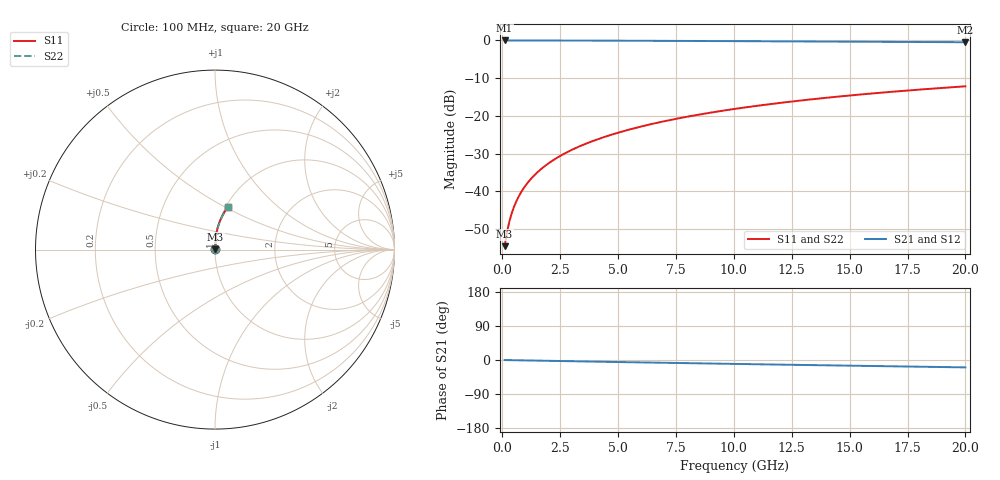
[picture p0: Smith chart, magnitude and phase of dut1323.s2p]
! Touchstone file exported from HFSS 2024.1.0
!  File:  C:/UserFiles/LocalFiles/RDL_TSV_Batchsim/temp_RDL_bottom_1323_1780369074.aedt
!  Generated:  11:00:42 AM Jun  2, 2026
!  Design:  RDL_bottom
!  Project:  temp_RDL_bottom_1323_1780369074
!  Setup:  Setup1
!  Solution:  Sweep
! Variables:
!  dtsv = 10.80580581um
!  hbump = 3um
!  htsv = 54.93um
!  ldown = 204.95um
!  lrdl = 100um
!  p = 40
!  p1 = 58.42um
!  rhole = 1um
!  t = 450um
!  tdown = 3.3um
!  trdl = 3.915915916um
!  wdown = 18um
!  wrdl = 20um
# GHz S MA R 50.000000
! Terminal data exported
! Port[1] = RDL1_T1
! Port[2] = RDL1_T2
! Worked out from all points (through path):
!   200 points, 100 MHz to 20 GHz, reference 50 ohm
!   highest |S21| = -0.01 dB at 100 MHz (marker M1); lowest = -0.5 dB at 20 GHz (marker M2)
!   group delay of S21, straight-line fit = 2.69 ps
!   lowest |S11| = -54.5 dB at 100 MHz (marker M3), VSWR 1.00, Z = 50.1 + j0.123 ohm
!   |S11| at or under -10 dB: start of sweep to end of sweep
!   |S22| runs from -54.5 to -12.2 dB; largest |S21 - S12| = 3.6e-15
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0.1  0.001886 40.7  0.9986 -0.1  0.9986 -0.1  0.001886 40.7
! Gamma 0 0 0 0
! Port Impedance 50 0 50 0
0.2  0.00285 59.1  0.9985 -0.2  0.9985 -0.2  0.00285 59.1
0.3  0.003942 67.5  0.9985 -0.3  0.9985 -0.3  0.003942 67.5
0.4  0.005065 72.2  0.9984 -0.4  0.9984 -0.4  0.005065 72.2
0.5  0.006198 75.1  0.9983 -0.6  0.9983 -0.6  0.006198 75.1
0.6  0.007337 77.2  0.9983 -0.7  0.9983 -0.7  0.007337 77.2
0.8  0.009625 80.0  0.9981 -0.9  0.9981 -0.9  0.009625 80.0
1.1  0.01308 82.4  0.9979 -1.2  0.9979 -1.2  0.01308 82.4
1.5  0.01774 84.2  0.9976 -1.7  0.9976 -1.7  0.01774 84.2
1.8  0.02125 85.0  0.9973 -2.0  0.9973 -2.0  0.02125 85.0
2.1  0.02479 85.5  0.9969 -2.3  0.9969 -2.3  0.02479 85.5
2.7  0.03192 86.2  0.9961 -2.9  0.9961 -2.9  0.03192 86.2
3.5  0.04155 86.6  0.9947 -3.8  0.9947 -3.8  0.04155 86.6
4.2  0.05009 86.6  0.9934 -4.5  0.9934 -4.5  0.05009 86.6
5  0.05997 86.4  0.9916 -5.4  0.9916 -5.4  0.05997 86.4
5.9  0.07122 86.0  0.9894 -6.3  0.9894 -6.3  0.07122 86.0
6.8  0.08258 85.5  0.9871 -7.2  0.9871 -7.2  0.08258 85.5
8.3  0.1017 84.4  0.983 -8.7  0.983 -8.7  0.1017 84.4
10.1  0.1247 82.9  0.9779 -10.4  0.9779 -10.4  0.1247 82.9
13.4  0.1665 79.8  0.968 -13.5  0.968 -13.5  0.1665 79.8
16.7  0.2073 76.5  0.9574 -16.5  0.9574 -16.5  0.2073 76.5
20  0.2467 73.4  0.946 -19.5  0.946 -19.5  0.2467 73.4
